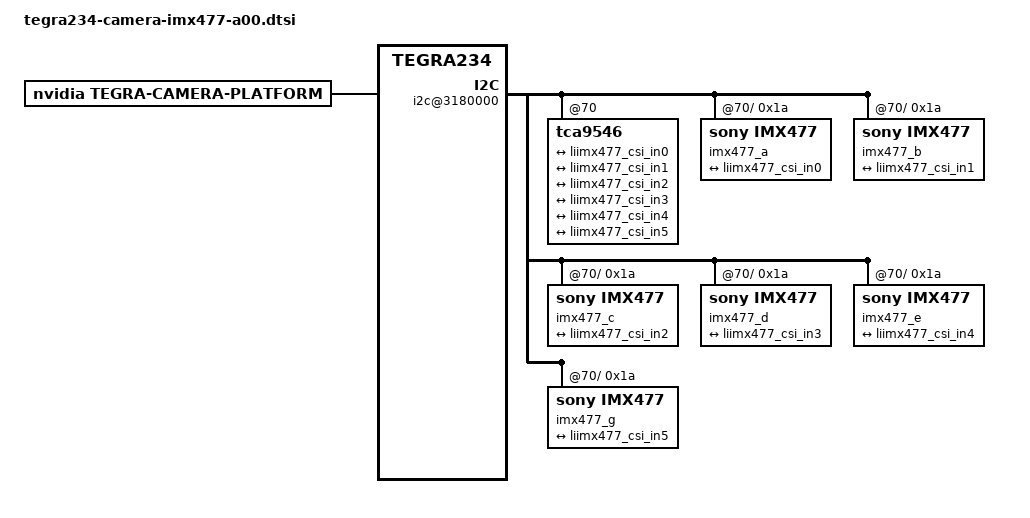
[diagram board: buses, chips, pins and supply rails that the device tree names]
/*
 * Copyright (C) 2022, Leopardimaging Inc.
 * Based on Copyright (c) 2016-2022, NVIDIA CORPORATION.  All rights reserved.
 *
 * This program is free software; you can redistribute it and/or modify it
 * under the terms and conditions of the GNU General Public License,
 * version 2, as published by the Free Software Foundation.
 *
 * This program is distributed in the hope it will be useful, but WITHOUT
 * ANY WARRANTY; without even the implied warranty of MERCHANTABILITY or
 * FITNESS FOR A PARTICULAR PURPOSE.  See the GNU General Public License for
 * more details.
 *
 * You should have received a copy of the GNU General Public License
 * along with this program.  If not, see <http://www.gnu.org/licenses/>.
 */

/ {
	tegra-capture-vi {
		num-channels = <4>;
		ports {
			#address-cells = <1>;
			#size-cells = <0>;
			port@0 {
				reg = <0>;
				liimx477_vi_in0: endpoint {
					port-index = <0>;
					bus-width = <2>;
					remote-endpoint = <&liimx477_csi_out0>;
				};
			};
			port@1 {
				reg = <1>;
				liimx477_vi_in1: endpoint {
					port-index = <1>;
					bus-width = <2>;
					remote-endpoint = <&liimx477_csi_out1>;
				};
			};
			port@2 {
				reg = <2>;
				liimx477_vi_in2: endpoint {
					port-index = <2>;
					bus-width = <2>;
					remote-endpoint = <&liimx477_csi_out2>;
				};
			};
			port@3 {
				reg = <3>;
				liimx477_vi_in3: endpoint {
					port-index = <3>;
					bus-width = <2>;
					remote-endpoint = <&liimx477_csi_out3>;
				};
			};
			port@4 {
				reg = <4>;
				liimx477_vi_in4: endpoint {
					port-index = <4>;
					bus-width = <2>;
					remote-endpoint = <&liimx477_csi_out4>;
				};
			};
			port@5 {
				reg = <5>;
				liimx477_vi_in5: endpoint {
					port-index = <5>;
					bus-width = <2>;
					remote-endpoint = <&liimx477_csi_out5>;
				};
			};
		};
	};

	host1x@13e00000 {
		nvcsi@15a00000 {
			num-channels = <6>;
			#address-cells = <1>;
			#size-cells = <0>;
			channel@0 {
				reg = <0>;
				ports {
					#address-cells = <1>;
					#size-cells = <0>;
					port@0 {
						reg = <0>;
						liimx477_csi_in0: endpoint@0 {
							port-index = <0>;
							bus-width = <2>;
							remote-endpoint = <&liimx477_imx477_out0>;
						};
					};
					port@1 {
						reg = <1>;
						liimx477_csi_out0: endpoint@1 {
							remote-endpoint = <&liimx477_vi_in0>;
						};
					};
				};
			};
			channel@1 {
				reg = <1>;
				ports {
					#address-cells = <1>;
					#size-cells = <0>;
					port@0 {
						reg = <0>;
						liimx477_csi_in1: endpoint@2 {
							port-index = <1>;
							bus-width = <2>;
							remote-endpoint = <&liimx477_imx477_out1>;
						};
					};
					port@1 {
						reg = <1>;
						liimx477_csi_out1: endpoint@3 {
							remote-endpoint = <&liimx477_vi_in1>;
						};
					};
				};
			};
			channel@2 {
				reg = <2>;
				ports {
					#address-cells = <1>;
					#size-cells = <0>;
					port@0 {
						reg = <0>;
						liimx477_csi_in2: endpoint@4 {
							port-index = <2>;
							bus-width = <2>;
							remote-endpoint = <&liimx477_imx477_out2>;
						};
					};
					port@1 {
						reg = <1>;
						liimx477_csi_out2: endpoint@5 {
							remote-endpoint = <&liimx477_vi_in2>;
						};
					};
				};
			};
			channel@3 {
				reg = <3>;
				ports {
					#address-cells = <1>;
					#size-cells = <0>;
					port@0 {
						reg = <0>;
						liimx477_csi_in3: endpoint@6 {
							port-index = <3>;
							bus-width = <2>;
							remote-endpoint = <&liimx477_imx477_out3>;
						};
					};
					port@1 {
						reg = <1>;
						liimx477_csi_out3: endpoint@7 {
							remote-endpoint = <&liimx477_vi_in3>;
						};
					};
				};
			};
			channel@4 {
				reg = <4>;
				ports {
					#address-cells = <1>;
					#size-cells = <0>;
					port@0 {
						reg = <0>;
						liimx477_csi_in4: endpoint@8 {
							port-index = <4>;
							bus-width = <2>;
							remote-endpoint = <&liimx477_imx477_out4>;
						};
					};
					port@1 {
						reg = <1>;
						liimx477_csi_out4: endpoint@9 {
							remote-endpoint = <&liimx477_vi_in4>;
						};
					};
				};
			};
			channel@5 {
				reg = <5>;
				ports {
					#address-cells = <1>;
					#size-cells = <0>;
					port@0 {
						reg = <0>;
						liimx477_csi_in5: endpoint@10 {
							port-index = <6>;
							bus-width = <2>;
							remote-endpoint = <&liimx477_imx477_out5>;
						};
					};
					port@1 {
						reg = <1>;
						liimx477_csi_out5: endpoint@11 {
							remote-endpoint = <&liimx477_vi_in5>;
						};
					};
				};
			};
		};
	};

	i2c@3180000 {
		tca9546@70 {
			i2c@0 {
			imx477_a@1a {
				compatible = "sony,imx477";

				reg = <0x1a>;
				devnode = "video0";

				/* Physical dimensions of sensor */
				physical_w = "15.0";
				physical_h = "12.5";

				sensor_model ="imx477";
				/* Define any required hw resources needed by driver */
				/* ie. clocks, io pins, power sources */

				/* Defines number of frames to be dropped by driver internally after applying */
				/* sensor crop settings. Some sensors send corrupt frames after applying */
				/* crop co-ordinates */
				//post_crop_frame_drop = "0";

				/* Convert Gain to unit of dB (decibel) befor passing to kernel driver */
				//use_decibel_gain = "true";

				/* if true, delay gain setting by one frame to be in sync with exposure */
				//delayed_gain = "true";

				/* enable CID_SENSOR_MODE_ID for sensor modes selection */
				use_sensor_mode_id = "true";

				/* WAR to prevent banding by reducing analog gain. Bug 2229902 */
				//limit_analog_gain = "true";

				/**
				* ==== Modes ====
				* A modeX node is required to support v4l2 driver
				* implementation with NVIDIA camera software stack
				*
				* == Signal properties ==
				*
				* phy_mode = "";
				* PHY mode used by the MIPI lanes for this device
				*
				* tegra_sinterface = "";
				* CSI Serial interface connected to tegra
				* Incase of virtual HW devices, use virtual
				* For SW emulated devices, use host
				*
				* pix_clk_hz = "";
				* Sensor pixel clock used for calculations like exposure and framerate
				*
				* readout_orientation = "0";
				* Based on camera module orientation.
				* Only change readout_orientation if you specifically
				* Program a different readout order for this mode
				*
				* == Image format Properties ==
				*
				* active_w = "";
				* Pixel active region width
				*
				* active_h = "";
				* Pixel active region height
				*
				* pixel_t = "";
				* The sensor readout pixel pattern
				*
				* line_length = "";
				* Pixel line length (width) for sensor mode.
				*
				* == Source Control Settings ==
				*
				* Gain factor used to convert fixed point integer to float
				* Gain range [min_gain/gain_factor, max_gain/gain_factor]
				* Gain step [step_gain/gain_factor is the smallest step that can be configured]
				* Default gain [Default gain to be initialized for the control.
				*     use min_gain_val as default for optimal results]
				* Framerate factor used to convert fixed point integer to float
				* Framerate range [min_framerate/framerate_factor, max_framerate/framerate_factor]
				* Framerate step [step_framerate/framerate_factor is the smallest step that can be configured]
				* Default Framerate [Default framerate to be initialized for the control.
				*     use max_framerate to get required performance]
				* Exposure factor used to convert fixed point integer to float
				* For convenience use 1 sec = 1000000us as conversion factor
				* Exposure range [min_exp_time/exposure_factor, max_exp_time/exposure_factor]
				* Exposure step [step_exp_time/exposure_factor is the smallest step that can be configured]
				* Default Exposure Time [Default exposure to be initialized for the control.
				*     Set default exposure based on the default_framerate for optimal exposure settings]
				*
				* gain_factor = ""; (integer factor used for floating to fixed point conversion)
				* min_gain_val = ""; (ceil to integer)
				* max_gain_val = ""; (ceil to integer)
				* step_gain_val = ""; (ceil to integer)
				* default_gain = ""; (ceil to integer)
				* Gain limits for mode
				*
				* exposure_factor = ""; (integer factor used for floating to fixed point conversion)
				* min_exp_time = ""; (ceil to integer)
				* max_exp_time = ""; (ceil to integer)
				* step_exp_time = ""; (ceil to integer)
				* default_exp_time = ""; (ceil to integer)
				* Exposure Time limits for mode (sec)
				*
				* framerate_factor = ""; (integer factor used for floating to fixed point conversion)
				* min_framerate = ""; (ceil to integer)
				* max_framerate = ""; (ceil to integer)
				* step_framerate = ""; (ceil to integer)
				* default_framerate = ""; (ceil to integer)
				* Framerate limits for mode (fps)
				*
				* embedded_metadata_height = "";
				* Sensor embedded metadata height in units of rows.
				* If sensor does not support embedded metadata value should be 0.
				*/
				mode0 {
					mclk_khz = "24000";
					num_lanes = "2";
					tegra_sinterface = "serial_a";
					phy_mode = "DPHY";
					discontinuous_clk = "no";
					dpcm_enable = "false";
					cil_settletime = "0";
					dynamic_pixel_bit_depth = "10";
					csi_pixel_bit_depth = "10";
					mode_type = "bayer";
					pixel_phase = "rggb";

                    active_w = "3840";
                    active_h = "2160";
					readout_orientation = "0";
					line_length = "11200";
					inherent_gain = "1";
					mclk_multiplier = "80";
					pix_clk_hz = "300000000";

					gain_factor = "16";
					framerate_factor = "1000000";
					exposure_factor = "1000000";
					min_gain_val = "16"; /* 1.00x */
					max_gain_val = "356"; /* 22x */
					step_gain_val = "1";
					default_gain = "16"; /* 1.00x */
					min_hdr_ratio = "1";
					max_hdr_ratio = "1";
                    min_framerate = "2000000"; /* 2.0 fps */
                    max_framerate = "30000000"; /* 30.0 fps */
					step_framerate = "1";
					default_framerate = "30000000"; /* 30.0 fps */
                    min_exp_time = "13"; /* us */
                    max_exp_time = "683709"; /* us */
					step_exp_time = "1";
					default_exp_time = "2495"; /* us */

					embedded_metadata_height = "2";
				};
				mode1 {
					mclk_khz = "24000";
					num_lanes = "2";
					tegra_sinterface = "serial_a";
					phy_mode = "DPHY";
					discontinuous_clk = "no";
					dpcm_enable = "false";
					cil_settletime = "0";
					dynamic_pixel_bit_depth = "10";
					csi_pixel_bit_depth = "10";
					mode_type = "bayer";
					pixel_phase = "rggb";

                    active_w = "1920";
                    active_h = "1080";
					readout_orientation = "0";
					line_length = "7000";
					inherent_gain = "1";
                    mclk_multiplier = "80";
                    pix_clk_hz = "300000000";

					gain_factor = "16";
					framerate_factor = "1000000";
					exposure_factor = "1000000";
					min_gain_val = "16"; /* 1.00x */
					max_gain_val = "356"; /* 22x */
					step_gain_val = "1";
					default_gain = "16"; /* 1.00x */
					min_hdr_ratio = "1";
					max_hdr_ratio = "1";
					min_framerate = "2000000"; /* 2.0 fps */
					max_framerate = "60000000"; /* 60.0 fps */
					step_framerate = "1";
					default_framerate = "60000000"; /* 60.0 fps */
                    min_exp_time = "13"; /* us */
                    max_exp_time = "683709"; /* us */
                    step_exp_time = "1";
                    default_exp_time = "2495"; /* us */

					embedded_metadata_height = "2";
				};
				ports {
					#address-cells = <1>;
					#size-cells = <0>;
					port@0 {
						reg = <0>;
						liimx477_imx477_out0: endpoint {
							port-index = <0>;
							bus-width = <2>;
							remote-endpoint = <&liimx477_csi_in0>;
							};
						};
					};
				};
			};
			i2c@1 {
			imx477_b@1a {
				compatible = "sony,imx477";

				reg = <0x1a>;
				devnode = "video1";

				/* Physical dimensions of sensor */
				physical_w = "15.0";
				physical_h = "12.5";

				sensor_model ="imx477";
				/* Define any required hw resources needed by driver */
				/* ie. clocks, io pins, power sources */

				/* Defines number of frames to be dropped by driver internally after applying */
				/* sensor crop settings. Some sensors send corrupt frames after applying */
				/* crop co-ordinates */
				//post_crop_frame_drop = "0";

				/* Convert Gain to unit of dB (decibel) befor passing to kernel driver */
				//use_decibel_gain = "true";

				/* if true, delay gain setting by one frame to be in sync with exposure */
				//delayed_gain = "true";

				/* enable CID_SENSOR_MODE_ID for sensor modes selection */
				use_sensor_mode_id = "true";

				/* WAR to prevent banding by reducing analog gain. Bug 2229902 */
				//limit_analog_gain = "true";

				/**
				* ==== Modes ====
				* A modeX node is required to support v4l2 driver
				* implementation with NVIDIA camera software stack
				*
				* == Signal properties ==
				*
				* phy_mode = "";
				* PHY mode used by the MIPI lanes for this device
				*
				* tegra_sinterface = "";
				* CSI Serial interface connected to tegra
				* Incase of virtual HW devices, use virtual
				* For SW emulated devices, use host
				*
				* pix_clk_hz = "";
				* Sensor pixel clock used for calculations like exposure and framerate
				*
				* readout_orientation = "0";
				* Based on camera module orientation.
				* Only change readout_orientation if you specifically
				* Program a different readout order for this mode
				*
				* == Image format Properties ==
				*
				* active_w = "";
				* Pixel active region width
				*
				* active_h = "";
				* Pixel active region height
				*
				* pixel_t = "";
				* The sensor readout pixel pattern
				*
				* line_length = "";
				* Pixel line length (width) for sensor mode.
				*
				* == Source Control Settings ==
				*
				* Gain factor used to convert fixed point integer to float
				* Gain range [min_gain/gain_factor, max_gain/gain_factor]
				* Gain step [step_gain/gain_factor is the smallest step that can be configured]
				* Default gain [Default gain to be initialized for the control.
				*     use min_gain_val as default for optimal results]
				* Framerate factor used to convert fixed point integer to float
				* Framerate range [min_framerate/framerate_factor, max_framerate/framerate_factor]
				* Framerate step [step_framerate/framerate_factor is the smallest step that can be configured]
				* Default Framerate [Default framerate to be initialized for the control.
				*     use max_framerate to get required performance]
				* Exposure factor used to convert fixed point integer to float
				* For convenience use 1 sec = 1000000us as conversion factor
				* Exposure range [min_exp_time/exposure_factor, max_exp_time/exposure_factor]
				* Exposure step [step_exp_time/exposure_factor is the smallest step that can be configured]
				* Default Exposure Time [Default exposure to be initialized for the control.
				*     Set default exposure based on the default_framerate for optimal exposure settings]
				*
				* gain_factor = ""; (integer factor used for floating to fixed point conversion)
				* min_gain_val = ""; (ceil to integer)
				* max_gain_val = ""; (ceil to integer)
				* step_gain_val = ""; (ceil to integer)
				* default_gain = ""; (ceil to integer)
				* Gain limits for mode
				*
				* exposure_factor = ""; (integer factor used for floating to fixed point conversion)
				* min_exp_time = ""; (ceil to integer)
				* max_exp_time = ""; (ceil to integer)
				* step_exp_time = ""; (ceil to integer)
				* default_exp_time = ""; (ceil to integer)
				* Exposure Time limits for mode (sec)
				*
				* framerate_factor = ""; (integer factor used for floating to fixed point conversion)
				* min_framerate = ""; (ceil to integer)
				* max_framerate = ""; (ceil to integer)
				* step_framerate = ""; (ceil to integer)
				* default_framerate = ""; (ceil to integer)
				* Framerate limits for mode (fps)
				*
				* embedded_metadata_height = "";
				* Sensor embedded metadata height in units of rows.
				* If sensor does not support embedded metadata value should be 0.
				*/
				mode0 {
					mclk_khz = "24000";
					num_lanes = "2";
					tegra_sinterface = "serial_b";
					phy_mode = "DPHY";
					discontinuous_clk = "no";
					dpcm_enable = "false";
					cil_settletime = "0";
					dynamic_pixel_bit_depth = "10";
					csi_pixel_bit_depth = "10";
					mode_type = "bayer";
					pixel_phase = "rggb";

                    active_w = "3840";
                    active_h = "2160";
					readout_orientation = "0";
                    line_length = "11200";
                    inherent_gain = "1";
                    mclk_multiplier = "80";
                    pix_clk_hz = "300000000";

					gain_factor = "16";
					framerate_factor = "1000000";
					exposure_factor = "1000000";
					min_gain_val = "16"; /* 1.00x */
					max_gain_val = "356"; /* 16x */
					step_gain_val = "1";
					default_gain = "16"; /* 1.00x */
					min_hdr_ratio = "1";
					max_hdr_ratio = "1";
					min_framerate = "2000000"; /* 2.0 fps */
					max_framerate = "30000000"; /* 30.0 fps */
					step_framerate = "1";
					default_framerate = "30000000"; /* 30.0 fps */
                    min_exp_time = "13"; /* us */
                    max_exp_time = "683709"; /* us */
                    step_exp_time = "1";
                    default_exp_time = "2495"; /* us */

                    embedded_metadata_height = "2";
				};
				mode1 {
					mclk_khz = "24000";
					num_lanes = "2";
					tegra_sinterface = "serial_b";
					phy_mode = "DPHY";
					discontinuous_clk = "no";
					dpcm_enable = "false";
					cil_settletime = "0";
					dynamic_pixel_bit_depth = "10";
					csi_pixel_bit_depth = "10";
					mode_type = "bayer";
					pixel_phase = "rggb";

                    active_w = "1920";
                    active_h = "1080";
					readout_orientation = "0";
					line_length = "7000";
					inherent_gain = "1";
                    mclk_multiplier = "80";
                    pix_clk_hz = "300000000";

					gain_factor = "16";
					framerate_factor = "1000000";
					exposure_factor = "1000000";
					min_gain_val = "16"; /* 1.00x */
					max_gain_val = "356"; /* 16x */
					step_gain_val = "1";
					default_gain = "16"; /* 1.00x */
					min_hdr_ratio = "1";
					max_hdr_ratio = "1";
					min_framerate = "2000000"; /* 2.0 fps */
					max_framerate = "60000000"; /* 60.0 fps */
                    step_framerate = "1";
                    default_framerate = "60000000"; /* 60.0 fps */
                    min_exp_time = "13"; /* us */
                    max_exp_time = "683709"; /* us */
                    step_exp_time = "1";
                    default_exp_time = "2495"; /* us */

                    embedded_metadata_height = "2";
				};
				ports {
					#address-cells = <1>;
					#size-cells = <0>;
					port@0 {
						reg = <0>;
						liimx477_imx477_out1: endpoint {
							port-index = <1>;
							bus-width = <2>;
							remote-endpoint = <&liimx477_csi_in1>;
							};
						};
					};
				};
			};
			i2c@2 {
			imx477_c@1a {
				compatible = "sony,imx477";

				reg = <0x1a>;
				devnode = "video2";

				/* Physical dimensions of sensor */
				physical_w = "15.0";
				physical_h = "12.5";

				sensor_model ="imx477";
				/* Define any required hw resources needed by driver */
				/* ie. clocks, io pins, power sources */

				/* Defines number of frames to be dropped by driver internally after applying */
				/* sensor crop settings. Some sensors send corrupt frames after applying */
				/* crop co-ordinates */
				//post_crop_frame_drop = "0";

				/* Convert Gain to unit of dB (decibel) befor passing to kernel driver */
				//use_decibel_gain = "true";

				/* if true, delay gain setting by one frame to be in sync with exposure */
				//delayed_gain = "true";

				/* enable CID_SENSOR_MODE_ID for sensor modes selection */
				use_sensor_mode_id = "true";

				/* WAR to prevent banding by reducing analog gain. Bug 2229902 */
				//limit_analog_gain = "true";

				/**
				* ==== Modes ====
				* A modeX node is required to support v4l2 driver
				* implementation with NVIDIA camera software stack
				*
				* == Signal properties ==
				*
				* phy_mode = "";
				* PHY mode used by the MIPI lanes for this device
				*
				* tegra_sinterface = "";
				* CSI Serial interface connected to tegra
				* Incase of virtual HW devices, use virtual
				* For SW emulated devices, use host
				*
				* pix_clk_hz = "";
				* Sensor pixel clock used for calculations like exposure and framerate
				*
				* readout_orientation = "0";
				* Based on camera module orientation.
				* Only change readout_orientation if you specifically
				* Program a different readout order for this mode
				*
				* == Image format Properties ==
				*
				* active_w = "";
				* Pixel active region width
				*
				* active_h = "";
				* Pixel active region height
				*
				* pixel_t = "";
				* The sensor readout pixel pattern
				*
				* line_length = "";
				* Pixel line length (width) for sensor mode.
				*
				* == Source Control Settings ==
				*
				* Gain factor used to convert fixed point integer to float
				* Gain range [min_gain/gain_factor, max_gain/gain_factor]
				* Gain step [step_gain/gain_factor is the smallest step that can be configured]
				* Default gain [Default gain to be initialized for the control.
				*     use min_gain_val as default for optimal results]
				* Framerate factor used to convert fixed point integer to float
				* Framerate range [min_framerate/framerate_factor, max_framerate/framerate_factor]
				* Framerate step [step_framerate/framerate_factor is the smallest step that can be configured]
				* Default Framerate [Default framerate to be initialized for the control.
				*     use max_framerate to get required performance]
				* Exposure factor used to convert fixed point integer to float
				* For convenience use 1 sec = 1000000us as conversion factor
				* Exposure range [min_exp_time/exposure_factor, max_exp_time/exposure_factor]
				* Exposure step [step_exp_time/exposure_factor is the smallest step that can be configured]
				* Default Exposure Time [Default exposure to be initialized for the control.
				*     Set default exposure based on the default_framerate for optimal exposure settings]
				*
				* gain_factor = ""; (integer factor used for floating to fixed point conversion)
				* min_gain_val = ""; (ceil to integer)
				* max_gain_val = ""; (ceil to integer)
				* step_gain_val = ""; (ceil to integer)
				* default_gain = ""; (ceil to integer)
				* Gain limits for mode
				*
				* exposure_factor = ""; (integer factor used for floating to fixed point conversion)
				* min_exp_time = ""; (ceil to integer)
				* max_exp_time = ""; (ceil to integer)
				* step_exp_time = ""; (ceil to integer)
				* default_exp_time = ""; (ceil to integer)
				* Exposure Time limits for mode (sec)
				*
				* framerate_factor = ""; (integer factor used for floating to fixed point conversion)
				* min_framerate = ""; (ceil to integer)
				* max_framerate = ""; (ceil to integer)
				* step_framerate = ""; (ceil to integer)
				* default_framerate = ""; (ceil to integer)
				* Framerate limits for mode (fps)
				*
				* embedded_metadata_height = "";
				* Sensor embedded metadata height in units of rows.
				* If sensor does not support embedded metadata value should be 0.
				*/
				mode0 {
					mclk_khz = "24000";
					num_lanes = "2";
					tegra_sinterface = "serial_c";
					phy_mode = "DPHY";
					discontinuous_clk = "no";
					dpcm_enable = "false";
					cil_settletime = "0";
					dynamic_pixel_bit_depth = "10";
					csi_pixel_bit_depth = "10";
					mode_type = "bayer";
					pixel_phase = "rggb";

                    active_w = "3840";
                    active_h = "2160";
					readout_orientation = "0";
                    line_length = "11200";
                    inherent_gain = "1";
                    mclk_multiplier = "80";
                    pix_clk_hz = "300000000";

                    gain_factor = "16";
                    framerate_factor = "1000000";
                    exposure_factor = "1000000";
                    min_gain_val = "16"; /* 1.00x */
                    max_gain_val = "356"; /* 22x */
                    step_gain_val = "1";
                    default_gain = "16"; /* 1.00x */
                    min_hdr_ratio = "1";
                    max_hdr_ratio = "1";
                    min_framerate = "2000000"; /* 2.0 fps */
                    max_framerate = "30000000"; /* 30.0 fps */
                    step_framerate = "1";
                    default_framerate = "30000000"; /* 30.0 fps */
                    min_exp_time = "13"; /* us */
                    max_exp_time = "683709"; /* us */
                    step_exp_time = "1";
                    default_exp_time = "2495"; /* us */

                    embedded_metadata_height = "2";
				};
				mode1 {
					mclk_khz = "24000";
					num_lanes = "2";
					tegra_sinterface = "serial_c";
					phy_mode = "DPHY";
					discontinuous_clk = "no";
					dpcm_enable = "false";
					cil_settletime = "0";
					dynamic_pixel_bit_depth = "10";
					csi_pixel_bit_depth = "10";
					mode_type = "bayer";
					pixel_phase = "rggb";

                    active_w = "1920";
                    active_h = "1080";
					readout_orientation = "0";
					line_length = "7000";
					inherent_gain = "1";
                    mclk_multiplier = "80";
                    pix_clk_hz = "300000000";

					gain_factor = "16";
					framerate_factor = "1000000";
					exposure_factor = "1000000";
					min_gain_val = "16"; /* 1.00x */
					max_gain_val = "356"; /* 16x */
					step_gain_val = "1";
					default_gain = "16"; /* 1.00x */
					min_hdr_ratio = "1";
					max_hdr_ratio = "1";
					min_framerate = "2000000"; /* 2.0 fps */
					max_framerate = "60000000"; /* 60.0 fps */
                    step_framerate = "1";
                    default_framerate = "60000000"; /* 60.0 fps */
                    min_exp_time = "13"; /* us */
                    max_exp_time = "683709"; /* us */
                    step_exp_time = "1";
                    default_exp_time = "2495"; /* us */

                    embedded_metadata_height = "2";
				};
				ports {
					#address-cells = <1>;
					#size-cells = <0>;
					port@0 {
						reg = <0>;
						liimx477_imx477_out2: endpoint {
							port-index = <2>;
							bus-width = <2>;
							remote-endpoint = <&liimx477_csi_in2>;
							};
						};
					};
				};
			};

			i2c@3 {
			imx477_d@1a {
				compatible = "sony,imx477";

				reg = <0x1a>;
				devnode = "video3";

				/* Physical dimensions of sensor */
				physical_w = "15.0";
				physical_h = "12.5";

				sensor_model ="imx477";
				/* Define any required hw resources needed by driver */
				/* ie. clocks, io pins, power sources */

				/* Defines number of frames to be dropped by driver internally after applying */
				/* sensor crop settings. Some sensors send corrupt frames after applying */
				/* crop co-ordinates */
				//post_crop_frame_drop = "0";

				/* Convert Gain to unit of dB (decibel) befor passing to kernel driver */
				//use_decibel_gain = "true";

				/* if true, delay gain setting by one frame to be in sync with exposure */
				//delayed_gain = "true";

				/* enable CID_SENSOR_MODE_ID for sensor modes selection */
				use_sensor_mode_id = "true";

				/* WAR to prevent banding by reducing analog gain. Bug 2229902 */
				//limit_analog_gain = "true";

				/**
				* ==== Modes ====
				* A modeX node is required to support v4l2 driver
				* implementation with NVIDIA camera software stack
				*
				* == Signal properties ==
				*
				* phy_mode = "";
				* PHY mode used by the MIPI lanes for this device
				*
				* tegra_sinterface = "";
				* CSI Serial interface connected to tegra
				* Incase of virtual HW devices, use virtual
				* For SW emulated devices, use host
				*
				* pix_clk_hz = "";
				* Sensor pixel clock used for calculations like exposure and framerate
				*
				* readout_orientation = "0";
				* Based on camera module orientation.
				* Only change readout_orientation if you specifically
				* Program a different readout order for this mode
				*
				* == Image format Properties ==
				*
				* active_w = "";
				* Pixel active region width
				*
				* active_h = "";
				* Pixel active region height
				*
				* pixel_t = "";
				* The sensor readout pixel pattern
				*
				* line_length = "";
				* Pixel line length (width) for sensor mode.
				*
				* == Source Control Settings ==
				*
				* Gain factor used to convert fixed point integer to float
				* Gain range [min_gain/gain_factor, max_gain/gain_factor]
				* Gain step [step_gain/gain_factor is the smallest step that can be configured]
				* Default gain [Default gain to be initialized for the control.
				*     use min_gain_val as default for optimal results]
				* Framerate factor used to convert fixed point integer to float
				* Framerate range [min_framerate/framerate_factor, max_framerate/framerate_factor]
				* Framerate step [step_framerate/framerate_factor is the smallest step that can be configured]
				* Default Framerate [Default framerate to be initialized for the control.
				*     use max_framerate to get required performance]
				* Exposure factor used to convert fixed point integer to float
				* For convenience use 1 sec = 1000000us as conversion factor
				* Exposure range [min_exp_time/exposure_factor, max_exp_time/exposure_factor]
				* Exposure step [step_exp_time/exposure_factor is the smallest step that can be configured]
				* Default Exposure Time [Default exposure to be initialized for the control.
				*     Set default exposure based on the default_framerate for optimal exposure settings]
				*
				* gain_factor = ""; (integer factor used for floating to fixed point conversion)
				* min_gain_val = ""; (ceil to integer)
				* max_gain_val = ""; (ceil to integer)
				* step_gain_val = ""; (ceil to integer)
				* default_gain = ""; (ceil to integer)
				* Gain limits for mode
				*
				* exposure_factor = ""; (integer factor used for floating to fixed point conversion)
				* min_exp_time = ""; (ceil to integer)
				* max_exp_time = ""; (ceil to integer)
				* step_exp_time = ""; (ceil to integer)
				* default_exp_time = ""; (ceil to integer)
				* Exposure Time limits for mode (sec)
				*
				* framerate_factor = ""; (integer factor used for floating to fixed point conversion)
				* min_framerate = ""; (ceil to integer)
				* max_framerate = ""; (ceil to integer)
				* step_framerate = ""; (ceil to integer)
				* default_framerate = ""; (ceil to integer)
				* Framerate limits for mode (fps)
				*
				* embedded_metadata_height = "";
				* Sensor embedded metadata height in units of rows.
				* If sensor does not support embedded metadata value should be 0.
				*/
				mode0 {
					mclk_khz = "24000";
					num_lanes = "2";
					tegra_sinterface = "serial_d";
					phy_mode = "DPHY";
					discontinuous_clk = "no";
					dpcm_enable = "false";
					cil_settletime = "0";
					dynamic_pixel_bit_depth = "10";
					csi_pixel_bit_depth = "10";
					mode_type = "bayer";
					pixel_phase = "rggb";

                    active_w = "3840";
                    active_h = "2160";
					readout_orientation = "0";
                    line_length = "11200";
                    inherent_gain = "1";
                    mclk_multiplier = "80";
                    pix_clk_hz = "300000000";

					gain_factor = "16";
					framerate_factor = "1000000";
					exposure_factor = "1000000";
					min_gain_val = "16"; /* 1.00x */
					max_gain_val = "356"; /* 16x */
					step_gain_val = "1";
					default_gain = "16"; /* 1.00x */
					min_hdr_ratio = "1";
					max_hdr_ratio = "1";
					min_framerate = "2000000"; /* 2.0 fps */
					max_framerate = "30000000"; /* 30.0 fps */
					step_framerate = "1";
					default_framerate = "30000000"; /* 30.0 fps */
                    min_exp_time = "13"; /* us */
                    max_exp_time = "683709"; /* us */
                    step_exp_time = "1";
                    default_exp_time = "2495"; /* us */

                    embedded_metadata_height = "2";
				};
				mode1 {
					mclk_khz = "24000";
					num_lanes = "2";
					tegra_sinterface = "serial_d";
					phy_mode = "DPHY";
					discontinuous_clk = "no";
					dpcm_enable = "false";
					cil_settletime = "0";
					dynamic_pixel_bit_depth = "10";
					csi_pixel_bit_depth = "10";
					mode_type = "bayer";
					pixel_phase = "rggb";

                    active_w = "1920";
                    active_h = "1080";
					readout_orientation = "0";
					line_length = "7000";
					inherent_gain = "1";
                    mclk_multiplier = "80";
                    pix_clk_hz = "300000000";

					gain_factor = "16";
					framerate_factor = "1000000";
					exposure_factor = "1000000";
					min_gain_val = "16"; /* 1.00x */
					max_gain_val = "356"; /* 16x */
					step_gain_val = "1";
					default_gain = "16"; /* 1.00x */
					min_hdr_ratio = "1";
					max_hdr_ratio = "1";
					min_framerate = "2000000"; /* 2.0 fps */
					max_framerate = "60000000"; /* 60.0 fps */
                    step_framerate = "1";
                    default_framerate = "60000000"; /* 60.0 fps */
                    min_exp_time = "13"; /* us */
                    max_exp_time = "683709"; /* us */
                    step_exp_time = "1";
                    default_exp_time = "2495"; /* us */

                    embedded_metadata_height = "2";
				};
				ports {
					#address-cells = <1>;
					#size-cells = <0>;
					port@0 {
						reg = <0>;
						liimx477_imx477_out3: endpoint {
							port-index = <3>;
							bus-width = <2>;
							remote-endpoint = <&liimx477_csi_in3>;
							};
						};
					};
				};
			};

			i2c@4 {
			imx477_e@1a {
				compatible = "sony,imx477";

				reg = <0x1a>;
				devnode = "video3";

				/* Physical dimensions of sensor */
				physical_w = "15.0";
				physical_h = "12.5";

				sensor_model ="imx477";
				/* Define any required hw resources needed by driver */
				/* ie. clocks, io pins, power sources */

				/* Defines number of frames to be dropped by driver internally after applying */
				/* sensor crop settings. Some sensors send corrupt frames after applying */
				/* crop co-ordinates */
				//post_crop_frame_drop = "0";

				/* Convert Gain to unit of dB (decibel) befor passing to kernel driver */
				//use_decibel_gain = "true";

				/* if true, delay gain setting by one frame to be in sync with exposure */
				//delayed_gain = "true";

				/* enable CID_SENSOR_MODE_ID for sensor modes selection */
				use_sensor_mode_id = "true";

				/* WAR to prevent banding by reducing analog gain. Bug 2229902 */
				//limit_analog_gain = "true";

				/**
				* ==== Modes ====
				* A modeX node is required to support v4l2 driver
				* implementation with NVIDIA camera software stack
				*
				* == Signal properties ==
				*
				* phy_mode = "";
				* PHY mode used by the MIPI lanes for this device
				*
				* tegra_sinterface = "";
				* CSI Serial interface connected to tegra
				* Incase of virtual HW devices, use virtual
				* For SW emulated devices, use host
				*
				* pix_clk_hz = "";
				* Sensor pixel clock used for calculations like exposure and framerate
				*
				* readout_orientation = "0";
				* Based on camera module orientation.
				* Only change readout_orientation if you specifically
				* Program a different readout order for this mode
				*
				* == Image format Properties ==
				*
				* active_w = "";
				* Pixel active region width
				*
				* active_h = "";
				* Pixel active region height
				*
				* pixel_t = "";
				* The sensor readout pixel pattern
				*
				* line_length = "";
				* Pixel line length (width) for sensor mode.
				*
				* == Source Control Settings ==
				*
				* Gain factor used to convert fixed point integer to float
				* Gain range [min_gain/gain_factor, max_gain/gain_factor]
				* Gain step [step_gain/gain_factor is the smallest step that can be configured]
				* Default gain [Default gain to be initialized for the control.
				*     use min_gain_val as default for optimal results]
				* Framerate factor used to convert fixed point integer to float
				* Framerate range [min_framerate/framerate_factor, max_framerate/framerate_factor]
				* Framerate step [step_framerate/framerate_factor is the smallest step that can be configured]
				* Default Framerate [Default framerate to be initialized for the control.
				*     use max_framerate to get required performance]
				* Exposure factor used to convert fixed point integer to float
				* For convenience use 1 sec = 1000000us as conversion factor
				* Exposure range [min_exp_time/exposure_factor, max_exp_time/exposure_factor]
				* Exposure step [step_exp_time/exposure_factor is the smallest step that can be configured]
				* Default Exposure Time [Default exposure to be initialized for the control.
				*     Set default exposure based on the default_framerate for optimal exposure settings]
				*
				* gain_factor = ""; (integer factor used for floating to fixed point conversion)
				* min_gain_val = ""; (ceil to integer)
				* max_gain_val = ""; (ceil to integer)
				* step_gain_val = ""; (ceil to integer)
				* default_gain = ""; (ceil to integer)
				* Gain limits for mode
				*
				* exposure_factor = ""; (integer factor used for floating to fixed point conversion)
				* min_exp_time = ""; (ceil to integer)
				* max_exp_time = ""; (ceil to integer)
				* step_exp_time = ""; (ceil to integer)
				* default_exp_time = ""; (ceil to integer)
				* Exposure Time limits for mode (sec)
				*
				* framerate_factor = ""; (integer factor used for floating to fixed point conversion)
				* min_framerate = ""; (ceil to integer)
				* max_framerate = ""; (ceil to integer)
				* step_framerate = ""; (ceil to integer)
				* default_framerate = ""; (ceil to integer)
				* Framerate limits for mode (fps)
				*
				* embedded_metadata_height = "";
				* Sensor embedded metadata height in units of rows.
				* If sensor does not support embedded metadata value should be 0.
				*/
				mode0 {
					mclk_khz = "24000";
					num_lanes = "2";
					tegra_sinterface = "serial_e";
					phy_mode = "DPHY";
					discontinuous_clk = "no";
					dpcm_enable = "false";
					cil_settletime = "0";
					dynamic_pixel_bit_depth = "10";
					csi_pixel_bit_depth = "10";
					mode_type = "bayer";
					pixel_phase = "rggb";

                    active_w = "3840";
                    active_h = "2160";
					readout_orientation = "0";
                    line_length = "11200";
                    inherent_gain = "1";
                    mclk_multiplier = "80";
                    pix_clk_hz = "300000000";

					gain_factor = "16";
					framerate_factor = "1000000";
					exposure_factor = "1000000";
					min_gain_val = "16"; /* 1.00x */
					max_gain_val = "356"; /* 16x */
					step_gain_val = "1";
					default_gain = "16"; /* 1.00x */
					min_hdr_ratio = "1";
					max_hdr_ratio = "1";
					min_framerate = "2000000"; /* 2.0 fps */
					max_framerate = "30000000"; /* 30.0 fps */
					step_framerate = "1";
					default_framerate = "30000000"; /* 30.0 fps */
                    min_exp_time = "13"; /* us */
                    max_exp_time = "683709"; /* us */
                    step_exp_time = "1";
                    default_exp_time = "2495"; /* us */

                    embedded_metadata_height = "2";
				};
				mode1 {
					mclk_khz = "24000";
					num_lanes = "2";
					tegra_sinterface = "serial_e";
					phy_mode = "DPHY";
					discontinuous_clk = "no";
					dpcm_enable = "false";
					cil_settletime = "0";
					dynamic_pixel_bit_depth = "10";
					csi_pixel_bit_depth = "10";
					mode_type = "bayer";
					pixel_phase = "rggb";

                    active_w = "1920";
                    active_h = "1080";
					readout_orientation = "0";
					line_length = "7000";
					inherent_gain = "1";
                    mclk_multiplier = "80";
                    pix_clk_hz = "300000000";

					gain_factor = "16";
					framerate_factor = "1000000";
					exposure_factor = "1000000";
					min_gain_val = "16"; /* 1.00x */
					max_gain_val = "356"; /* 16x */
					step_gain_val = "1";
					default_gain = "16"; /* 1.00x */
					min_hdr_ratio = "1";
					max_hdr_ratio = "1";
					min_framerate = "2000000"; /* 2.0 fps */
					max_framerate = "60000000"; /* 60.0 fps */
                    step_framerate = "1";
                    default_framerate = "60000000"; /* 60.0 fps */
                    min_exp_time = "13"; /* us */
                    max_exp_time = "683709"; /* us */
                    step_exp_time = "1";
                    default_exp_time = "2495"; /* us */

                    embedded_metadata_height = "2";
				};
				ports {
					#address-cells = <1>;
					#size-cells = <0>;
					port@0 {
						reg = <0>;
						liimx477_imx477_out4: endpoint {
							port-index = <4>;
							bus-width = <2>;
							remote-endpoint = <&liimx477_csi_in4>;
							};
						};
					};
				};
			};

			i2c@5 {
			imx477_g@1a {
				compatible = "sony,imx477";

				reg = <0x1a>;
				devnode = "video3";

				/* Physical dimensions of sensor */
				physical_w = "15.0";
				physical_h = "12.5";

				sensor_model ="imx477";
				/* Define any required hw resources needed by driver */
				/* ie. clocks, io pins, power sources */

				/* Defines number of frames to be dropped by driver internally after applying */
				/* sensor crop settings. Some sensors send corrupt frames after applying */
				/* crop co-ordinates */
				//post_crop_frame_drop = "0";

				/* Convert Gain to unit of dB (decibel) befor passing to kernel driver */
				//use_decibel_gain = "true";

				/* if true, delay gain setting by one frame to be in sync with exposure */
				//delayed_gain = "true";

				/* enable CID_SENSOR_MODE_ID for sensor modes selection */
				use_sensor_mode_id = "true";

				/* WAR to prevent banding by reducing analog gain. Bug 2229902 */
				//limit_analog_gain = "true";

				/**
				* ==== Modes ====
				* A modeX node is required to support v4l2 driver
				* implementation with NVIDIA camera software stack
				*
				* == Signal properties ==
				*
				* phy_mode = "";
				* PHY mode used by the MIPI lanes for this device
				*
				* tegra_sinterface = "";
				* CSI Serial interface connected to tegra
				* Incase of virtual HW devices, use virtual
				* For SW emulated devices, use host
				*
				* pix_clk_hz = "";
				* Sensor pixel clock used for calculations like exposure and framerate
				*
				* readout_orientation = "0";
				* Based on camera module orientation.
				* Only change readout_orientation if you specifically
				* Program a different readout order for this mode
				*
				* == Image format Properties ==
				*
				* active_w = "";
				* Pixel active region width
				*
				* active_h = "";
				* Pixel active region height
				*
				* pixel_t = "";
				* The sensor readout pixel pattern
				*
				* line_length = "";
				* Pixel line length (width) for sensor mode.
				*
				* == Source Control Settings ==
				*
				* Gain factor used to convert fixed point integer to float
				* Gain range [min_gain/gain_factor, max_gain/gain_factor]
				* Gain step [step_gain/gain_factor is the smallest step that can be configured]
				* Default gain [Default gain to be initialized for the control.
				*     use min_gain_val as default for optimal results]
				* Framerate factor used to convert fixed point integer to float
				* Framerate range [min_framerate/framerate_factor, max_framerate/framerate_factor]
				* Framerate step [step_framerate/framerate_factor is the smallest step that can be configured]
				* Default Framerate [Default framerate to be initialized for the control.
				*     use max_framerate to get required performance]
				* Exposure factor used to convert fixed point integer to float
				* For convenience use 1 sec = 1000000us as conversion factor
				* Exposure range [min_exp_time/exposure_factor, max_exp_time/exposure_factor]
				* Exposure step [step_exp_time/exposure_factor is the smallest step that can be configured]
				* Default Exposure Time [Default exposure to be initialized for the control.
				*     Set default exposure based on the default_framerate for optimal exposure settings]
				*
				* gain_factor = ""; (integer factor used for floating to fixed point conversion)
				* min_gain_val = ""; (ceil to integer)
				* max_gain_val = ""; (ceil to integer)
				* step_gain_val = ""; (ceil to integer)
				* default_gain = ""; (ceil to integer)
				* Gain limits for mode
				*
				* exposure_factor = ""; (integer factor used for floating to fixed point conversion)
				* min_exp_time = ""; (ceil to integer)
				* max_exp_time = ""; (ceil to integer)
				* step_exp_time = ""; (ceil to integer)
				* default_exp_time = ""; (ceil to integer)
				* Exposure Time limits for mode (sec)
				*
				* framerate_factor = ""; (integer factor used for floating to fixed point conversion)
				* min_framerate = ""; (ceil to integer)
				* max_framerate = ""; (ceil to integer)
				* step_framerate = ""; (ceil to integer)
				* default_framerate = ""; (ceil to integer)
				* Framerate limits for mode (fps)
				*
				* embedded_metadata_height = "";
				* Sensor embedded metadata height in units of rows.
				* If sensor does not support embedded metadata value should be 0.
				*/
				mode0 {
					mclk_khz = "24000";
					num_lanes = "2";
					tegra_sinterface = "serial_g";
					phy_mode = "DPHY";
					discontinuous_clk = "no";
					dpcm_enable = "false";
					cil_settletime = "0";
					dynamic_pixel_bit_depth = "10";
					csi_pixel_bit_depth = "10";
					mode_type = "bayer";
					pixel_phase = "rggb";

                    active_w = "3840";
                    active_h = "2160";
					readout_orientation = "0";
                    line_length = "11200";
                    inherent_gain = "1";
                    mclk_multiplier = "80";
                    pix_clk_hz = "300000000";

					gain_factor = "16";
					framerate_factor = "1000000";
					exposure_factor = "1000000";
					min_gain_val = "16"; /* 1.00x */
					max_gain_val = "356"; /* 16x */
					step_gain_val = "1";
					default_gain = "16"; /* 1.00x */
					min_hdr_ratio = "1";
					max_hdr_ratio = "1";
					min_framerate = "2000000"; /* 2.0 fps */
					max_framerate = "30000000"; /* 30.0 fps */
					step_framerate = "1";
					default_framerate = "30000000"; /* 30.0 fps */
                    min_exp_time = "13"; /* us */
                    max_exp_time = "683709"; /* us */
                    step_exp_time = "1";
                    default_exp_time = "2495"; /* us */

                    embedded_metadata_height = "2";
				};
				mode1 {
					mclk_khz = "24000";
					num_lanes = "2";
					tegra_sinterface = "serial_g";
					phy_mode = "DPHY";
					discontinuous_clk = "no";
					dpcm_enable = "false";
					cil_settletime = "0";
					dynamic_pixel_bit_depth = "10";
					csi_pixel_bit_depth = "10";
					mode_type = "bayer";
					pixel_phase = "rggb";

                    active_w = "1920";
                    active_h = "1080";
					readout_orientation = "0";
					line_length = "7000";
					inherent_gain = "1";
                    mclk_multiplier = "80";
                    pix_clk_hz = "300000000";

					gain_factor = "16";
					framerate_factor = "1000000";
					exposure_factor = "1000000";
					min_gain_val = "16"; /* 1.00x */
					max_gain_val = "356"; /* 16x */
					step_gain_val = "1";
					default_gain = "16"; /* 1.00x */
					min_hdr_ratio = "1";
					max_hdr_ratio = "1";
					min_framerate = "2000000"; /* 2.0 fps */
					max_framerate = "60000000"; /* 60.0 fps */
                    step_framerate = "1";
                    default_framerate = "60000000"; /* 60.0 fps */
                    min_exp_time = "13"; /* us */
                    max_exp_time = "683709"; /* us */
                    step_exp_time = "1";
                    default_exp_time = "2495"; /* us */

                    embedded_metadata_height = "2";
				};
				ports {
					#address-cells = <1>;
					#size-cells = <0>;
					port@0 {
						reg = <0>;
						liimx477_imx477_out5: endpoint {
							port-index = <5>;
							bus-width = <2>;
							remote-endpoint = <&liimx477_csi_in5>;
							};
						};
					};
				};
			};
		};
	};
};

/ {

	tegra-camera-platform {
		compatible = "nvidia, tegra-camera-platform";
		/**
		* Physical settings to calculate max ISO BW
		*
		* num_csi_lanes = <>;
		* Total number of CSI lanes when all cameras are active
		*
		* max_lane_speed = <>;
		* Max lane speed in Kbit/s
		*
		* min_bits_per_pixel = <>;
		* Min bits per pixel
		*
		* vi_peak_byte_per_pixel = <>;
		* Max byte per pixel for the VI ISO case
		*
		* vi_bw_margin_pct = <>;
		* Vi bandwidth margin in percentage
		*
		* max_pixel_rate = <>;
		* Max pixel rate in Kpixel/s for the ISP ISO case
		*
		* isp_peak_byte_per_pixel = <>;
		* Max byte per pixel for the ISP ISO case
		*
		* isp_bw_margin_pct = <>;
		* Isp bandwidth margin in percentage
		*/
		num_csi_lanes = <16>;
		max_lane_speed = <2000000>;
		min_bits_per_pixel = <10>;
		vi_peak_byte_per_pixel = <2>;
		vi_bw_margin_pct = <25>;
		max_pixel_rate = <7500000>;
		isp_peak_byte_per_pixel = <5>;
		isp_bw_margin_pct = <25>;

		/**
		 * The general guideline for naming badge_info contains 3 parts, and is as follows,
		 * The first part is the camera_board_id for the module; if the module is in a FFD
		 * platform, then use the platform name for this part.
		 * The second part contains the position of the module, ex. "rear" or "front".
		 * The third part contains the last 6 characters of a part number which is found
		 * in the module's specsheet from the vender.
		 */
		modules {
			module0 {
				badge = "imx477_bottomleft_liimx477";
				position = "bottomleft";
				orientation = "0";
				drivernode0 {
					/* Declare PCL support driver (classically known as guid)  */
					pcl_id = "v4l2_sensor";
					/* Driver v4l2 device name */
					devname = "imx477 30-001a";
					/* Declare the device-tree hierarchy to driver instance */
					proc-device-tree = "/proc/device-tree/i2c@3180000/tca9548@70/i2c@0/imx477_a@1a";
				};
			};
			module1 {
				badge = "imx477_bottomright_liimx477";
				position = "bottomright";
				orientation = "0";
				drivernode0 {
					/* Declare PCL support driver (classically known as guid)  */
					pcl_id = "v4l2_sensor";
					/* Driver v4l2 device name */
					devname = "imx477 31-001a";
					/* Declare the device-tree hierarchy to driver instance */
					proc-device-tree = "/proc/device-tree/i2c@3180000/tca9548@70/i2c@1/imx477_b@1a";
				};
			};
			module2 {
				badge = "imx477_centerleft_liimx477";
				position = "centerleft";
				orientation = "0";
				drivernode0 {
					/* Declare PCL support driver (classically known as guid)  */
					pcl_id = "v4l2_sensor";
					/* Driver v4l2 device name */
					devname = "imx477 32-001a";
					/* Declare the device-tree hierarchy to driver instance */
					proc-device-tree = "/proc/device-tree/i2c@3180000/tca9548@70/i2c@2/imx477_c@1a";
				};
			};
			module3 {
				badge = "imx477_centerright_liimx477";
				position = "centerright";
				orientation = "0";
				drivernode0 {
					/* Declare PCL support driver (classically known as guid)  */
					pcl_id = "v4l2_sensor";
					/* Driver v4l2 device name */
					devname = "imx477 33-001a";
					/* Declare the device-tree hierarchy to driver instance */
					proc-device-tree = "/proc/device-tree/i2c@3180000/tca9548@70/i2c@3/imx477_d@1a";
				};
			};
			module4 {
				badge = "imx477_centerright_liimx477";
				position = "centerright";
				orientation = "0";
				drivernode0 {
					/* Declare PCL support driver (classically known as guid)  */
					pcl_id = "v4l2_sensor";
					/* Driver v4l2 device name */
					devname = "imx477 34-001a";
					/* Declare the device-tree hierarchy to driver instance */
					proc-device-tree = "/proc/device-tree/i2c@3180000/tca9548@70/i2c@4/imx477_e@1a";
				};
			};
			module5 {
				badge = "imx477_centerright_liimx477";
				position = "centerright";
				orientation = "0";
				drivernode0 {
					/* Declare PCL support driver (classically known as guid)  */
					pcl_id = "v4l2_sensor";
					/* Driver v4l2 device name */
					devname = "imx477 35-001a";
					/* Declare the device-tree hierarchy to driver instance */
					proc-device-tree = "/proc/device-tree/i2c@3180000/tca9548@70/i2c@5/imx477_g@1a";
				};
			};
		};
	};
};
